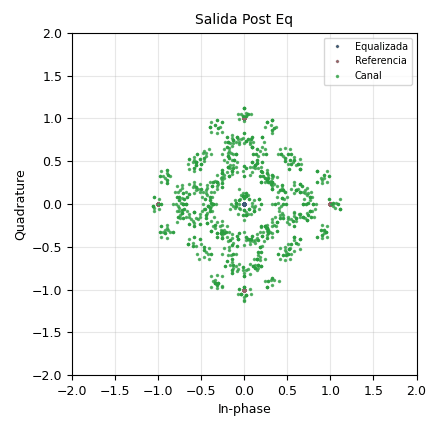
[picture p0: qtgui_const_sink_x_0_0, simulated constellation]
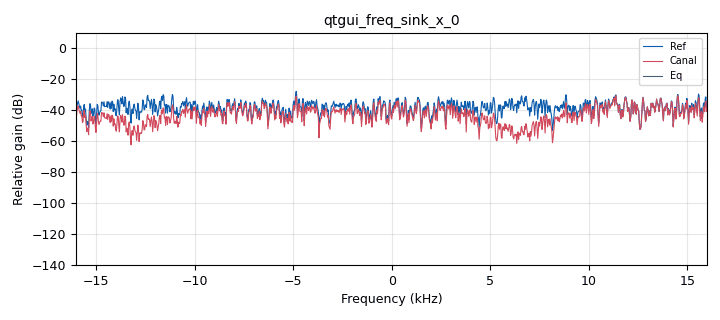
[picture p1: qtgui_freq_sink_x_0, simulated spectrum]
<?xml version='1.0' encoding='utf-8'?>
<?grc format='1' created='3.7.9'?>
<flow_graph>
<block>
<key>options</key>
<param><key>id</key><value>top_block</value></param>
<param><key>category</key><value>Custom</value></param>
<param><key>generate_options</key><value>qt_gui</value></param>
</block>
<block>
<key>variable</key>
<param><key>id</key><value>Ch_taps</value></param>
<param><key>value</key><value>fftpack.ifftshift(fftpack.ifft([0.8, 0.1, 1.0, 0.2, 0.8]))</value></param>
</block>
<block>
<key>variable_constellation</key>
<param><key>id</key><value>MiconstellationObject</value></param>
<param><key>const_points</key><value>[1.+0.j,   0.+1.j,   -1.+0.j,  0.-1.j ]</value></param>
<param><key>dims</key><value>1</value></param>
<param><key>rot_sym</key><value>4</value></param>
<param><key>precision</key><value>8</value></param>
<param><key>sym_map</key><value></value></param>
</block>
<block>
<key>variable</key>
<param><key>id</key><value>samp_rate</value></param>
<param><key>value</key><value>32000</value></param>
</block>
<block>
<key>analog_random_source_x</key>
<param><key>id</key><value>analog_random_source_x_0_0</value></param>
<param><key>max</key><value>4</value></param>
<param><key>min</key><value>0</value></param>
<param><key>num_samps</key><value>1000</value></param>
<param><key>type</key><value>byte</value></param>
<param><key>repeat</key><value>True</value></param>
</block>
<block>
<key>blks2_error_rate</key>
<param><key>id</key><value>blks2_error_rate_0</value></param>
<param><key>bits_per_symbol</key><value>2</value></param>
<param><key>_enabled</key><value>0</value></param>
<param><key>type</key><value>'SER'</value></param>
<param><key>win_size</key><value>1000</value></param>
</block>
<block>
<key>blocks_vector_source_x</key>
<param><key>id</key><value>blocks_vector_source_x_0</value></param>
<param><key>_enabled</key><value>0</value></param>
<param><key>type</key><value>byte</value></param>
<param><key>repeat</key><value>True</value></param>
<param><key>vector</key><value>(0,1,2,3,1,2,2)</value></param>
</block>
<block>
<key>channels_channel_model</key>
<param><key>id</key><value>channels_channel_model_0</value></param>
<param><key>epsilon</key><value>1</value></param>
<param><key>freq_offset</key><value>0</value></param>
<param><key>noise_voltage</key><value>100e-6</value></param>
<param><key>seed</key><value>13</value></param>
<param><key>taps</key><value>Ch_taps</value></param>
</block>
<block>
<key>digital_chunks_to_symbols_xx</key>
<param><key>id</key><value>digital_chunks_to_symbols_xx_0</value></param>
<param><key>dimension</key><value>1</value></param>
<param><key>in_type</key><value>byte</value></param>
<param><key>out_type</key><value>complex</value></param>
<param><key>symbol_table</key><value>[1.+0.j,   0.+1.j,   -1.+0.j,  0.-1.j ]</value></param>
</block>
<block>
<key>digital_constellation_decoder_cb</key>
<param><key>id</key><value>digital_constellation_decoder_cb_0</value></param>
<param><key>constellation</key><value>MiconstellationObject</value></param>
<param><key>_enabled</key><value>0</value></param>
</block>
<block>
<key>epy_block</key>
<param><key>id</key><value>epy_block_0</value></param>
<param><key>_source_code</key><value>"""
Embedded Python Blocks:

Each this file is saved, GRC will instantiate the first class it finds to get
ports and parameters of your block. The arguments to __init__  will be the
parameters. All of them are required to have default values!
"""
import numpy as np
from gnuradio import gr
class blk(gr.sync_block):

    def __init__(self,taps=5,gain=0.5,train=20):  #Parametros por defecto
        gr.sync_block.__init__(
            self,
            name='Ecualizador LMS Final',
            in_sig=[np.complex64,np.complex64], #Dos entradas, una para referencia y una para canal
            out_sig=[np.complex64]
        )
	#Declaracion del vector de pesos 'w' con ancho del numero de taps
	self.w=np.zeros((taps,1),dtype=np.complex64)
	#Declaracion del valor alpha, representa la velocidad de aprendizaje
	self.alpha=gain
	#Declaracion del numero taps, representa la longitud del vector de pesos
	self.N=taps
	#Declaracion de la cantidad de entrenamiento a realizar
	self.train=train
	#Contador encargado de limitar el ciclo de entrenamiento
	self.count=0 

    def work(self, input_items, output_items,):
	#Entrada de la senal del canal
	x=input_items[0]
	#Entrada de la senal de referencia
	d=input_items[1]
	if(self.count&lt;=self.train): 		#Mientras el contador sea menor a el valor de entrenamiento se mantiene entrenando
		#print 'Entrada entrenamiento'
		for i in range(self.N,len(x)):
			xt=x[(i-self.N):i]	#Seleccion de una muestra de la senal del canal, del mismo tamano del vector de pesos
			y=self.w.T.dot(xt)	#Producto punto entre el vector de pesos y la muestra del canal (Convolucion)
			e=d[i-1]-self.w.T.dot(xt) 	#Calculo del error, entre la senal de referencia y la salida calculada	
			w1 = self.w.T + self.alpha*(e*(xt.conjugate())) #Actualizacion del vector de pesos basada en el error
			self.w=w1.T		#Correcion de la forma del vector de pesos
				
	else:	
		for i in range(self.N,len(x)):
			#print 'Entrada convolucion'
			xt=x[(i-self.N):i]	#Seleccion de una muestra de la seal del canal
			y=self.w.T.dot(xt)	#Producto punto entre el vector de pesos YA ENTRENADO y la muestra del canal (Convolucion)
						#Como ya esta entrenado no es necesario calcular el error nuevamente, solo usar el vector
			output_items[0][i]=y[0]	#Entrega de datos a la salida del ecualizador
	#print self.count
	self.count=self.count+1 		#Aumento del conteo
        return len(output_items[0])
</value></param>
<param><key>gain</key><value>0.01</value></param>
<param><key>taps</key><value>10</value></param>
<param><key>train</key><value>200</value></param>
</block>
<block>
<key>import</key>
<param><key>id</key><value>import_0_1</value></param>
<param><key>import</key><value>import cmath</value></param>
</block>
<block>
<key>import</key>
<param><key>id</key><value>import_0_1_0</value></param>
<param><key>import</key><value>import numpy</value></param>
</block>
<block>
<key>import</key>
<param><key>id</key><value>import_0_1_0_0</value></param>
<param><key>import</key><value>import random</value></param>
</block>
<block>
<key>import</key>
<param><key>id</key><value>import_0_1_1</value></param>
<param><key>import</key><value>import math</value></param>
</block>
<block>
<key>import</key>
<param><key>id</key><value>import_scipy</value></param>
<param><key>import</key><value>from scipy import fftpack</value></param>
</block>
<block>
<key>qtgui_const_sink_x</key>
<param><key>id</key><value>qtgui_const_sink_x_0_0</value></param>
<param><key>label1</key><value>Equalizada</value></param>
<param><key>label2</key><value>Referencia</value></param>
<param><key>label3</key><value>Canal</value></param>
<param><key>name</key><value>"Salida Post Eq"</value></param>
<param><key>nconnections</key><value>3</value></param>
<param><key>size</key><value>1024</value></param>
<param><key>type</key><value>complex</value></param>
</block>
<block>
<key>qtgui_freq_sink_x</key>
<param><key>id</key><value>qtgui_freq_sink_x_0</value></param>
<param><key>average</key><value>0.05</value></param>
<param><key>bw</key><value>samp_rate</value></param>
<param><key>fc</key><value>0</value></param>
<param><key>fftsize</key><value>1024</value></param>
<param><key>label1</key><value>Ref</value></param>
<param><key>label2</key><value>Canal</value></param>
<param><key>label3</key><value>Eq</value></param>
<param><key>nconnections</key><value>3</value></param>
<param><key>showports</key><value>True</value></param>
<param><key>type</key><value>complex</value></param>
<param><key>wintype</key><value>firdes.WIN_BLACKMAN_hARRIS</value></param>
</block>
<block>
<key>qtgui_time_sink_x</key>
<param><key>id</key><value>qtgui_time_sink_x_0</value></param>
<param><key>_enabled</key><value>0</value></param>
<param><key>color1</key><value>"blue"</value></param>
<param><key>label1</key><value></value></param>
<param><key>size</key><value>1024</value></param>
<param><key>srate</key><value>samp_rate</value></param>
<param><key>type</key><value>float</value></param>
</block>
<connection><source_block_id>analog_random_source_x_0_0</source_block_id><sink_block_id>digital_chunks_to_symbols_xx_0</sink_block_id><source_key>0</source_key><sink_key>0</sink_key></connection>
<connection><source_block_id>blks2_error_rate_0</source_block_id><sink_block_id>qtgui_time_sink_x_0</sink_block_id><source_key>0</source_key><sink_key>0</sink_key></connection>
<connection><source_block_id>blocks_vector_source_x_0</source_block_id><sink_block_id>blks2_error_rate_0</sink_block_id><source_key>0</source_key><sink_key>0</sink_key></connection>
<connection><source_block_id>blocks_vector_source_x_0</source_block_id><sink_block_id>digital_chunks_to_symbols_xx_0</sink_block_id><source_key>0</source_key><sink_key>0</sink_key></connection>
<connection><source_block_id>channels_channel_model_0</source_block_id><sink_block_id>epy_block_0</sink_block_id><source_key>0</source_key><sink_key>0</sink_key></connection>
<connection><source_block_id>channels_channel_model_0</source_block_id><sink_block_id>qtgui_const_sink_x_0_0</sink_block_id><source_key>0</source_key><sink_key>2</sink_key></connection>
<connection><source_block_id>channels_channel_model_0</source_block_id><sink_block_id>qtgui_freq_sink_x_0</sink_block_id><source_key>0</source_key><sink_key>1</sink_key></connection>
<connection><source_block_id>digital_chunks_to_symbols_xx_0</source_block_id><sink_block_id>channels_channel_model_0</sink_block_id><source_key>0</source_key><sink_key>0</sink_key></connection>
<connection><source_block_id>digital_chunks_to_symbols_xx_0</source_block_id><sink_block_id>epy_block_0</sink_block_id><source_key>0</source_key><sink_key>1</sink_key></connection>
<connection><source_block_id>digital_chunks_to_symbols_xx_0</source_block_id><sink_block_id>qtgui_const_sink_x_0_0</sink_block_id><source_key>0</source_key><sink_key>1</sink_key></connection>
<connection><source_block_id>digital_chunks_to_symbols_xx_0</source_block_id><sink_block_id>qtgui_freq_sink_x_0</sink_block_id><source_key>0</source_key><sink_key>0</sink_key></connection>
<connection><source_block_id>digital_constellation_decoder_cb_0</source_block_id><sink_block_id>blks2_error_rate_0</sink_block_id><source_key>0</source_key><sink_key>1</sink_key></connection>
<connection><source_block_id>epy_block_0</source_block_id><sink_block_id>digital_constellation_decoder_cb_0</sink_block_id><source_key>0</source_key><sink_key>0</sink_key></connection>
<connection><source_block_id>epy_block_0</source_block_id><sink_block_id>qtgui_const_sink_x_0_0</sink_block_id><source_key>0</source_key><sink_key>0</sink_key></connection>
<connection><source_block_id>epy_block_0</source_block_id><sink_block_id>qtgui_freq_sink_x_0</sink_block_id><source_key>0</source_key><sink_key>2</sink_key></connection>
</flow_graph>
